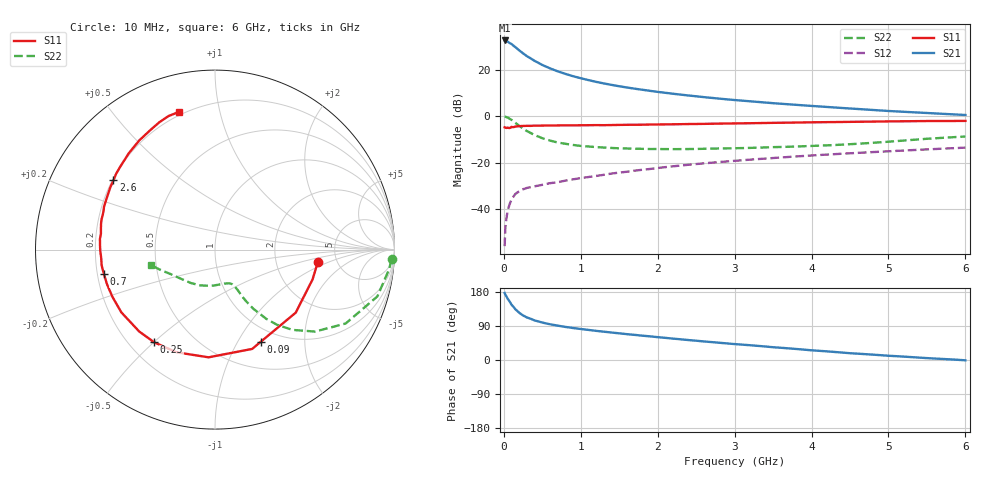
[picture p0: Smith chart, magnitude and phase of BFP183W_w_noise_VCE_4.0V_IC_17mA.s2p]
! Infineon Technologies  Discrete & RF Semiconductors
! BFP183W
! VCE =  4.0 V,  IC =  17 mA
! Common Emitter S-Parameters:  Jan 2017
# GHz  S  MA  R  50
!  f  S11  S21  S12  S22
! GHz  MAG  ANG  MAG  ANG  MAG  ANG  MAG  ANG
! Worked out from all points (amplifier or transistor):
!   77 points, 10 MHz to 6 GHz, reference 50 ohm
!   highest |S21| = 32.6 dB at 10 MHz (marker M1)
!   |S21| within 3 dB of that: start of sweep to 154.3 MHz
!   unconditionally stable (mu >= 1): 1.236 GHz to 3.721 GHz
!   at 130 MHz: K = 0.21, MSG = 32.3 dB, |S12| = -34.3 dB
!   at 2.2 GHz: K = 1.07, MAG = 14.1 dB, |S12| = -21.6 dB
!   at 6 GHz: K = 0.87, MSG = 7.0 dB, |S12| = -13.5 dB
!   lowest NFmin = 1.12 dB at 450 MHz
!   S11 on the Smith chart (normalised r, x): 10 MHz: 3.55, -0.76; 90 MHz: 0.82, -1.26; 250 MHz: 0.30, -0.50; 700 MHz: 0.23, -0.10; 2.6 GHz: 0.20, +0.30; 6 GHz: 0.18, +0.76
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0.01  0.5764 -7.1  42.7 176.9  0.0016 87.8  0.9854 -3.2
0.02  0.5686 -16.9  42.18 172.4  0.004 85.8  0.9755 -6.6
0.05  0.5707 -38.0  40.35 161.7  0.0092 75.7  0.9414 -16.1
0.09  0.5731 -63.5  36.45 149.4  0.0148 67.5  0.8532 -26.6
0.1  0.5908 -69.5  35.77 145.9  0.0162 66.3  0.8362 -29.5
0.15  0.6012 -93.4  30.64 133.9  0.0213 54.8  0.721 -39.3
0.2  0.6109 -110.5  26.14 124.6  0.0243 48.5  0.6221 -46.0
0.25  0.6177 -123.2  22.54 117.5  0.0268 46.4  0.5423 -50.5
0.3  0.6217 -132.8  19.6 112.2  0.0287 44.3  0.4796 -53.5
0.4  0.6282 -146.2  15.5 104.3  0.0311 44.3  0.3919 -57.1
0.5  0.6292 -155.3  12.68 98.8  0.0334 42.8  0.337 -58.9
0.6  0.6318 -162.1  10.74 94.3  0.0363 44.3  0.2992 -60.0
0.7  0.6337 -167.5  9.258 90.7  0.0379 46.0  0.272 -60.4
0.9  0.6358 -175.9  7.258 84.4  0.0439 49.1  0.2411 -61.5
1.1  0.6412 177.7  5.988 79.4  0.0492 51.1  0.2233 -62.6
1.5  0.6506 167.5  4.415 70.4  0.0613 54.2  0.2041 -67.0
2.1  0.6675 154.8  3.192 58.4  0.0803 55.8  0.1962 -78.2
2.6  0.6847 145.7  2.577 49.0  0.0968 55.2  0.1992 -90.6
3.1  0.7037 137.7  2.163 40.5  0.113 53.5  0.2065 -103.2
4.1  0.7429 123.5  1.624 24.2  0.1463 49.0  0.2327 -128.8
5.1  0.7767 112.7  1.271 10.1  0.1795 43.4  0.2911 -153.2
6  0.793 104.7  1.063 -0.8  0.211 37.7  0.3667 -166.3
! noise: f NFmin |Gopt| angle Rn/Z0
0.45  1.12  0.17  164  -0.02
0.9  1.15  0.23  169  0.09
1.9  1.61  0.4  -165  0.08
2.4  1.84  0.44  -159  0.11
